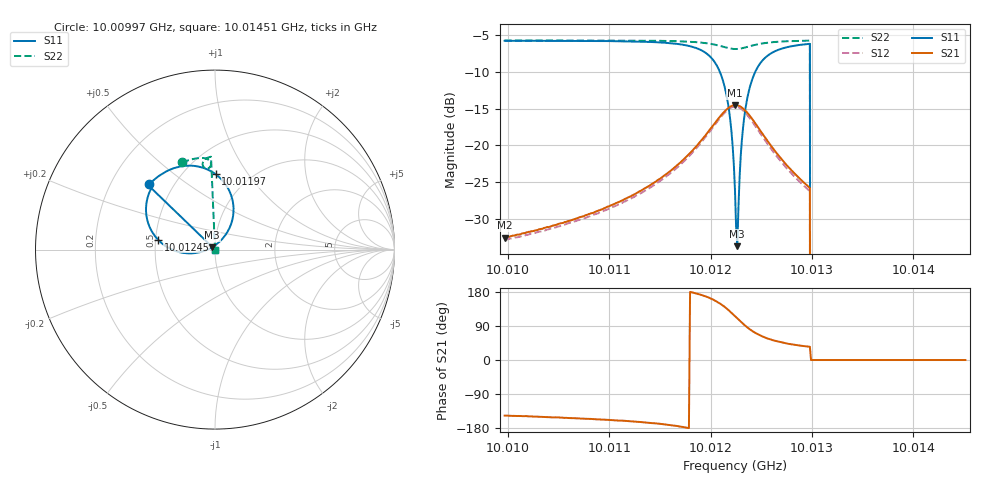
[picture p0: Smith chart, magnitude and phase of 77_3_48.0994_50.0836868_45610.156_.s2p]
#  HZ  S  RI  R  50.00
! Rohde & Schwarz Vector Network Analyzer
! Rohde-Schwarz,ZNB20-2Port,1311601062101988,3.16
! Created: UTC 12/23/2023, 3:42:23 AM
! freq[Hz]  re:S11  im:S11  re:S21  im:S21  re:S12  im:S12  re:S22  im:S22
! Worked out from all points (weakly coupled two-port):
!   401 points, 10.00997 GHz to 10.01451 GHz, reference 50 ohm
!   highest |S21| = -14.50 dB at 10.01224 GHz (marker M1); lowest = -32.5 dB at 10.00997 GHz (marker M2)
!   lowest |S11| = -33.7 dB at 10.01226 GHz (marker M3), VSWR 1.04, Z = 48.4 + j1.27 ohm
!   |S11| at or under -10 dB: 10.01209 GHz to 10.01244 GHz (347.4 kHz wide, 0.00347 % of centre); 10.01298 GHz to end of sweep
!   |S22| runs from - to -5.7 dB; largest |S21 - S12| = 0.0089
!   S11 on the Smith chart (normalised r, x): 10.00997 GHz: 0.37, +0.36; 10.01197 GHz: 0.71, +0.72; 10.01245 GHz: 0.51, +0.06; 10.01451 GHz: 1.00, +0.00
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1.0009968e10  -0.3668 0.3634  -0.0197 -0.013  -0.0183 -0.0134  -0.1834 0.4853
1.001073e10  -0.311 0.4114  -0.0296 -0.014  -0.0278 -0.015  -0.1344 0.5015
1.0011491e10  -0.2037 0.4608  -0.0575 -0.0121  -0.0547 -0.0143  -0.0778 0.5106
1.0011752e10  -0.1207 0.4667  -0.0826 -0.00279  -0.0796 -0.00716  -0.0536 0.5082
1.0011968e10  0.00443 0.4192  -0.1184 0.0288  -0.1163 0.022  -0.0308 0.4958
1.0012082e10  0.0841 0.3176  -0.1343 0.0753  -0.1348 0.0666  -0.0224 0.4787
1.0012162e10  0.1008 0.187  -0.1255 0.1244  -0.1281 0.1163  -0.026 0.4626
1.0012207e10  0.0703 0.1004  -0.1043 0.1535  -0.1083 0.1458  -0.0336 0.4551
1.0012241e10  0.0241 0.0429  -0.081 0.1699  -0.0852 0.1629  -0.0416 0.4522
1.0012252e10  0.00485 0.0268  -0.0721 0.1739  -0.0767 0.1669  -0.0445 0.4518
1.0012264e10  -0.0159 0.0131  -0.063 0.1769  -0.0677 0.17  -0.0474 0.4519
1.0012275e10  -0.0379 0.00149  -0.054 0.1788  -0.0587 0.1721  -0.0502 0.4523
1.0012309e10  -0.1076 -0.0189  -0.0265 0.1793  -0.0308 0.1732  -0.0579 0.4556
1.0012343e10  -0.1754 -0.0184  -0.00091 0.1728  -0.00519 0.1669  -0.0639 0.4612
1.0012389e10  -0.2518 0.00582  0.0258 0.1566  0.0198 0.1514  -0.068 0.4701
1.0012446e10  -0.3178 0.0557  0.0457 0.1325  0.0398 0.1282  -0.0686 0.481
1.0012616e10  -0.3832 0.1991  0.0586 0.0753  0.053 0.0741  -0.0558 0.5027
1.0012957e10  -0.3573 0.3367  0.0433 0.0307  0.0396 0.0313  -0.0241 0.5173
1.0013002e10  0 0  0 0  0 0  0 0
1.0013014e10  0 0  0 0  0 0  0 0
1.0013764e10  0 0  0 0  0 0  0 0
1.0014514e10  0 0  0 0  0 0  0 0
